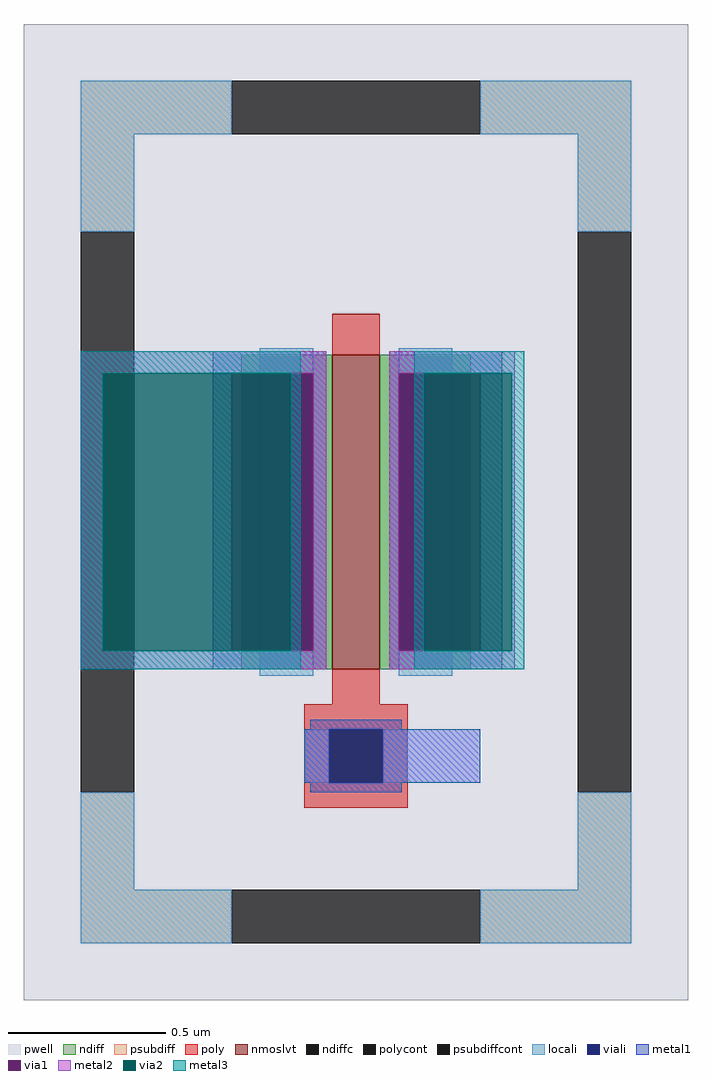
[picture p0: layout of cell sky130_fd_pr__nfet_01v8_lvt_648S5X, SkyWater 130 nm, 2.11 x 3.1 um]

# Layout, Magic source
magic
tech sky130A
<< pwell >>
rect -106 -155 105 155
<< nmoslvt >>
rect -8 -50 7 50
<< ndiff >>
rect -37 44 -8 50
rect -37 -44 -31 44
rect -14 -44 -8 44
rect -37 -50 -8 -44
rect 7 44 36 50
rect 7 -44 13 44
rect 30 -44 36 44
rect 7 -50 36 -44
<< ndiffc >>
rect -31 -44 -14 44
rect 13 -44 30 44
<< psubdiff >>
rect -88 120 -40 137
rect 39 120 87 137
rect -88 89 -71 120
rect 70 89 87 120
rect -88 -120 -71 -89
rect 70 -120 87 -89
rect -88 -137 -40 -120
rect 39 -137 87 -120
<< psubdiffcont >>
rect -40 120 39 137
rect -88 -89 -71 89
rect 70 -89 87 89
rect -40 -137 39 -120
<< poly >>
rect -8 50 7 63
rect -8 -61 7 -50
rect -17 -69 16 -61
rect -17 -86 -9 -69
rect 8 -86 16 -69
rect -17 -94 16 -86
<< polycont >>
rect -9 -86 8 -69
<< locali >>
rect -88 120 -40 137
rect 39 120 87 137
rect -88 89 -71 120
rect 70 89 87 120
rect -31 44 -14 52
rect -31 -52 -14 -44
rect 13 44 30 52
rect 13 -52 30 -44
rect -17 -86 -9 -69
rect 8 -86 16 -69
rect -88 -120 -71 -89
rect 70 -120 87 -89
rect -88 -137 -40 -120
rect 39 -137 87 -120
<< viali >>
rect -31 -44 -14 44
rect 13 -44 30 44
rect -9 -86 8 -69
<< metal1 >>
rect -46 44 -10 51
rect -46 -44 -40 44
rect -14 -44 -10 44
rect -46 -50 -10 -44
rect 10 44 46 51
rect 10 -44 13 44
rect 39 -44 46 44
rect 10 -50 46 -44
rect -15 -69 14 -66
rect -17 -86 -9 -69
rect 8 -86 39 -69
rect -15 -89 14 -86
<< via1 >>
rect -40 -44 -31 44
rect -31 -44 -14 44
rect 13 -44 30 44
rect 30 -44 39 44
<< metal2 >>
rect -88 44 -10 51
rect -88 -44 -81 44
rect -14 -44 -10 44
rect -88 -50 -10 -44
rect 10 44 50 51
rect 10 -44 13 44
rect 49 -44 50 44
rect 10 -50 50 -44
<< via2 >>
rect -81 -44 -40 44
rect -40 -44 -21 44
rect 21 -44 39 44
rect 39 -44 49 44
<< metal3 >>
rect -88 44 -18 51
rect -88 -44 -81 44
rect -21 -44 -18 44
rect -88 -50 -18 -44
rect 18 44 53 51
rect 18 -44 21 44
rect 49 -44 53 44
rect 18 -50 53 -44
<< properties >>
string FIXED_BBOX -79 -128 79 128
string gencell sky130_fd_pr__nfet_01v8_lvt
string library sky130
string parameters w 1.0 l 0.15 m 1 nf 1 diffcov 100 polycov 100 guard 1 glc 1 grc 1 gtc 1 gbc 1 tbcov 100 rlcov 100 topc 1 botc 1 poverlap 0 doverlap 1 lmin 0.15 wmin 0.42 compatible {sky130_fd_pr__nfet_01v8 sky130_fd_pr__nfet_01v8_lvt  sky130_fd_bs_flash__special_sonosfet_star  sky130_fd_pr__nfet_g5v0d10v5 sky130_fd_pr__nfet_05v0_nvt  sky130_fd_pr__nfet_03v3_nvt} full_metal 1 viasrc 100 viadrn 100 viagate 100 viagb 0 viagr 0 viagl 0 viagt 0
<< end >>
